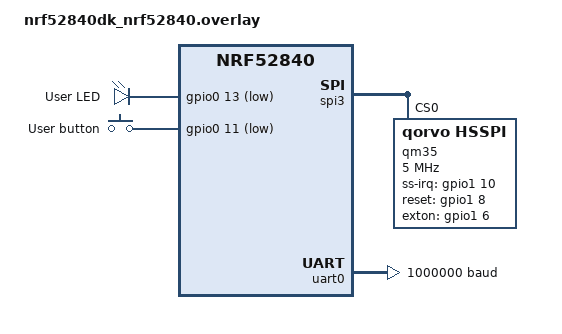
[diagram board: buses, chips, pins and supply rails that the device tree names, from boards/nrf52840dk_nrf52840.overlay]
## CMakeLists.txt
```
# SPDX-FileCopyrightText: Copyright (c) 2024 Qorvo, Inc.
# SPDX-License-Identifier: LicenseRef-QORVO-2

cmake_minimum_required(VERSION 3.13.1)

list(APPEND ZEPHYR_EXTRA_MODULES
	$ENV{ZEPHYR_BASE}/../../../../Samples/Cherry/uci
	$ENV{ZEPHYR_BASE}/../../../../Samples/Cherry/qosal
	$ENV{ZEPHYR_BASE}/../../../../Samples/Cherry/cherry
	$ENV{ZEPHYR_BASE}/../../../../Samples/Cherry/examples/utilities
	$ENV{ZEPHYR_BASE}/../../../../Samples/Cherry/examples/cherry
	$ENV{ZEPHYR_BASE}/../../../../Samples/Cherry/qm-utils
	$ENV{ZEPHYR_BASE}/../../../../Samples/Cherry/examples/uci_bridge
)

find_package(Zephyr REQUIRED HINTS $ENV{ZEPHYR_BASE})
zephyr_library_link_libraries(qosal)

project(app LANGUAGES C)

target_sources(app PRIVATE
	src/main.c
	src/main_qtrace.c
	src/qsoc_flash_bridge.c
	src/shell_utils.c
	src/uci_bridge.c
	src/user_button.c
)
```

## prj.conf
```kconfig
# SPDX-FileCopyrightText: Copyright (c) 2024 Qorvo, Inc.
# SPDX-License-Identifier: LicenseRef-QORVO-2
#
# This file contains selected Kconfig options for the application.



CONFIG_DEBUG_THREAD_INFO=y
# CONFIG_DEBUG_OPTIMIZATIONS=y

CONFIG_NRFX_SPIM3=y
CONFIG_HSSPI=y
CONFIG_LOG=y
CONFIG_APP_LOG_LEVEL_DBG=y
CONFIG_INIT_STACKS=y

CONFIG_MAIN_STACK_SIZE=2048
CONFIG_SYSTEM_WORKQUEUE_STACK_SIZE=2048

CONFIG_THREAD_CUSTOM_DATA=y
CONFIG_POLL=y

CONFIG_SYS_CLOCK_TICKS_PER_SEC=1000
CONFIG_HEAP_MEM_POOL_SIZE=16384
CONFIG_THREAD_NAME=y
CONFIG_THREAD_MAX_NAME_LEN=16
CONFIG_THREAD_STACK_INFO=y
CONFIG_THREAD_MONITOR=y
CONFIG_LOG_BUFFER_SIZE=4096
CONFIG_UCI_TRANSPORT_USE_QMUTILS=y
CONFIG_QOSAL_MAX_MUTEX=8
CONFIG_CHERRY_EXAMPLES_ZEPHYR=y
CONFIG_CHERRY_EXAMPLES_GETOPT_SUPPORT=y
CONFIG_PICOLIBC_IO_FLOAT=y
CONFIG_SHELL=y
CONFIG_SHELL_LOG_BACKEND=n
CONFIG_LOG_BACKEND_UART=y
CONFIG_SHELL_THREAD_PRIORITY_OVERRIDE=y
CONFIG_LOG_PROCESS_TRIGGER_THRESHOLD=1
CONFIG_PM_DEVICE=y
CONFIG_PM_DEVICE_RUNTIME=y
CONFIG_USE_SEGGER_RTT=y
CONFIG_LOG_BACKEND_RTT=n
CONFIG_UART_INTERRUPT_DRIVEN=y
CONFIG_UART_USE_RUNTIME_CONFIGURE=y
CONFIG_CHERRY_BRIDGE_ZEPHYR=y
```

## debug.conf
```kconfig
# SPDX-FileCopyrightText: Copyright (c) 2024 Qorvo, Inc.
# SPDX-License-Identifier: LicenseRef-QORVO-2
#
# This is a Kconfig fragment which can be used to enable debug-related options
# in the application. See the README for more details.

# compiler
CONFIG_DEBUG_OPTIMIZATIONS=y
CONFIG_DEBUG=y
CONFIG_DEBUG_INFO=y

# console
CONFIG_CONSOLE=y

# UART console
CONFIG_SERIAL=y
CONFIG_UART_CONSOLE=y

# logging
CONFIG_LOG=y
CONFIG_APP_LOG_LEVEL_DBG=y

CONFIG_USE_SEGGER_RTT=y
CONFIG_SEGGER_RTT_BUFFER_SIZE_UP=4096

CONFIG_INIT_STACKS=y
CONFIG_DEBUG_THREAD_INFO=y
```

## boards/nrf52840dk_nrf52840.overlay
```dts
 /**
 * SPDX-FileCopyrightText: Copyright (c) 2024 Qorvo, Inc.
 * SPDX-License-Identifier: LicenseRef-QORVO-2
 *
 */

&spi3 {
	/* spi3 (aka arduino_spi) is already enabled in board dts. So just add our
	 * device. */
	qm35: hsspi@0 {
		status = "okay";
		compatible = "qorvo,hsspi";
		reg = <0>;
		spi-max-frequency = <5000000>;
		ss-irq-gpios = <&gpio1 10 0>;
		reset-gpios = <&gpio1 8 0>;
		exton-gpios = <&gpio1 6 0>;
	};
};

&uart0 {
	current-speed = <1000000>;
	hw-flow-control;
};

&temp {
	status = "disabled";
};

&cryptocell {
	status = "disabled";
};

&spi1 {
	status = "disabled";
};

&i2c0 {
	status = "disabled";
};

&adc {
	status = "disabled";
};

&uart1 {
	status = "disabled";
};

&pwm0 {
	status = "disabled";
};

&ieee802154 {
	status = "disabled";
};

/*
user_button gpio: Button 1, P0.11.
user_led gpio: LED 1, P0.13.
*/
/ {
	aliases {
		user-button = &user_button;
		user-led = &user_led;
	};
	leds {
		compatible = "gpio-leds";
		user_led: user_led {
			gpios = <&gpio0 13 GPIO_ACTIVE_LOW>;
			label = "User LED";
		};
	};
	buttons {
		compatible = "gpio-keys";
		user_button: user_button {
			gpios = <&gpio0 11 (GPIO_PULL_UP | GPIO_ACTIVE_LOW)>;
			label = "User button";
		};
	};
};
```

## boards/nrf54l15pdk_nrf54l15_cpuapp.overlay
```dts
 /**
 * SPDX-FileCopyrightText: Copyright (c) 2025 Qorvo, Inc.
 * SPDX-License-Identifier: LicenseRef-QORVO-2
 *
 */

/{
/* The default uart console/shell is uart20, aka ttyACM1.
 * Set uart console/shell on ttyACM0 with selecting uart30. */
	chosen {
		zephyr,console = &uart30;
		zephyr,shell-uart = &uart30;
		zephyr,uart-mcumgr = &uart30;
	};
};

/*
spi21 pins assignement:
	spi21 Clock: P1.13, Button 0
	spi21 MOSI: P1.11
	spi21 MISO: P1.12
	spi21 CS: P2.08
QM35 pins assignement:
	QM35 IRQ: P0.04, Button 3
	QM35 Reset: P2.10
	QM35 EXTON: P1.08, Button 2
*/

&spi21 {
	status = "okay";
	pinctrl-0 = <&spi21_default>;
	pinctrl-1 = <&spi21_sleep>;
	pinctrl-names = "default", "sleep";
	cs-gpios = <&gpio2 8 GPIO_ACTIVE_LOW>;
	qm35: hsspi@0 {
		compatible = "qorvo,hsspi";
		reg = < 0x0 >;
		spi-max-frequency = <5000000>;
		status = "okay";
		ss-irq-gpios = <&gpio0 4 GPIO_ACTIVE_HIGH>;
		reset-gpios = <&gpio2 10 (GPIO_ACTIVE_HIGH|GPIO_OPEN_DRAIN)>;
		exton-gpios = <&gpio1 8 GPIO_ACTIVE_HIGH>;
	};
};

&pinctrl {
	spi21_default: spi21_default {
		group1 {
			psels = <NRF_PSEL(SPIM_SCK, 1, 13)>,
				<NRF_PSEL(SPIM_MOSI, 1, 11)>,
				<NRF_PSEL(SPIM_MISO, 1, 12)>;
			nordic,drive-mode = <NRF_DRIVE_H0H1>;
		};
	};

	spi21_sleep: spi21_sleep {
		group1 {
			psels = <NRF_PSEL(SPIM_SCK, 1, 13)>,
				<NRF_PSEL(SPIM_MOSI, 1, 11)>,
				<NRF_PSEL(SPIM_MISO, 1, 12)>;
			low-power-enable;
		};
	};
};

/* Enable uart30 for the console/shell. Configure it to 1Mbps. */
&uart30 {
	status = "okay";
	current-speed = <1000000>;
	hw-flow-control;
};

/* Disable uart20, used by the default for console/shell. */
&uart20 {
	status = "disabled";
};

/*
user_button gpio: Button 1, P1.09.
user_led gpio: LED 0, P2.09.
*/
/ {
	aliases {
		user-button = &user_button;
		user-led = &user_led;
	};
	leds {
		compatible = "gpio-leds";
		user_led: user_led {
			gpios = <&gpio2 9 GPIO_ACTIVE_HIGH>;
			label = "User LED";
		};
	};
	buttons {
		compatible = "gpio-keys";
		user_button: user_button {
			gpios = <&gpio1 9 (GPIO_PULL_UP | GPIO_ACTIVE_LOW)>;
			label = "User button";
		};
	};
};
```

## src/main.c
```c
/**
 * @file      main.c
 *
 * @brief     Example entrance. Prepare QM35 and run the example(s)
 *
 * @author    Qorvo Paris Applications
 *
 * @copyright SPDX-FileCopyrightText: Copyright (c) 2024 Qorvo, Inc.
 *            SPDX-License-Identifier: LicenseRef-QORVO-2
 *
 */

#include <app_version.h>
#include <zephyr/kernel.h>
#include <zephyr/logging/log.h>
#include <zephyr/shell/shell.h>
#include <twr_app.h>
#include <twr_app_params.h>
#include <device_app.h>
#include <device_app_params.h>
#include <dl_tdoa_app.h>
#include <dl_tdoa_app_params.h>

#include <radar_app.h>
#include <radar_app_params.h>
#include <multi_session_app.h>
#include <multi_session_app_params.h>
#include <get_calib_app.h>
#include <get_calib_app_params.h>
#include <uci_bridge_app.h>
#include <shell_utils.h>

#include "drivers/uwb/shell.h"
#include "shell_cmd_hyphen.h"

LOG_MODULE_REGISTER(main, CONFIG_APP_LOG_LEVEL);

int qsoc_flash_bridge_cmd(const struct shell *shell, size_t argc, char **argv);
int main_qtrace(int argc, char *argv[]);

#define QTRACE_USAGE_HELP                                                      \
	"\nUsage: qtrace [-s] [-e]\n"                                          \
	"\nOptions:\n"                                                         \
	"\t-s Start qtrace read and forward to the host PC (via JLink RTT).\n" \
	"\t-e End qtrace read and forward to the host PC.\n"

static int uwb_get_calib_cmd(const struct shell *shell, size_t argc,
			     char **argv)
{
	return main_get_calib_app(argc, argv);
}

static int uwb_multi_session_cmd(const struct shell *shell, size_t argc,
				 char **argv)
{
	return main_multi_session_app(argc, argv);
}

static int uwb_radar_cmd(const struct shell *shell, size_t argc, char **argv)
{
	return main_radar_app(argc, argv);
}

static int uwb_dl_tdoa_cmd(const struct shell *shell, size_t argc, char **argv)
{
	return main_dl_tdoa_app(argc, argv);
}

static int uwb_twr_cmd(const struct shell *shell, size_t argc, char **argv)
{
	return main_twr_app(argc, argv);
}

static int uwb_device_cmd(const struct shell *shell, size_t argc, char **argv)
{
	return main_device_app(argc, argv);
}

static int uwb_qtrace_cmd(const struct shell *shell, size_t argc, char **argv)
{
	return main_qtrace(argc, argv);
}

int main(void)
{
	SHELL_CMD_REGISTER(cherry_device_app, "cherry-device-app", NULL,
			   DEVICE_APP_USAGE_HELP, uwb_device_cmd);
	SHELL_CMD_REGISTER(cherry_twr_app, "cherry-twr-app", NULL,
			   TWR_APP_USAGE_HELP, uwb_twr_cmd);
	SHELL_CMD_REGISTER(cherry_dl_tdoa_app, "cherry-dl-tdoa-app", NULL,
			   DL_TDOA_APP_USAGE_HELP, uwb_dl_tdoa_cmd);
	SHELL_CMD_REGISTER(cherry_radar_app, "cherry-radar-app", NULL,
			   RADAR_APP_USAGE_HELP, uwb_radar_cmd);
	SHELL_CMD_REGISTER(cherry_multi_session_app, "cherry-multi-session-app",
			   NULL, MULTI_SESSION_APP_USAGE_HELP,
			   uwb_multi_session_cmd);
	SHELL_CMD_REGISTER(cherry_get_calib_app, "cherry-get-calib-app", NULL,
			   GET_CALIB_APP_USAGE_HELP, uwb_get_calib_cmd);
	SHELL_CMD_REGISTER(hsspi_tests, "hsspi-tests", NULL,
			   "Run some HSSPI driver tests", uwb_hsspi_tests_cmd);
	SHELL_CMD_REGISTER(qtrace, "qtrace", NULL, QTRACE_USAGE_HELP,
			   uwb_qtrace_cmd);
	SHELL_CMD_REGISTER(qsoc_flash_bridge, "qsoc-flash-bridge", NULL,
			   "QSoC-Flash bridge", qsoc_flash_bridge_cmd);
	SHELL_CMD_REGISTER(uci_bridge, "uci-bridge", NULL,
			   UCI_BRIDGE_APP_USAGE_HELP, uwb_uci_bridge_cmd);

	LOG_INF("Zephyr UWB Example Application %s",
		STRINGIFY(APP_BUILD_VERSION));

	user_button_init();
	while (1) {
		k_msleep(100);
	}
	return 0;
}
```

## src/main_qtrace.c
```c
/**
 * @file      main_qtrace.c
 *
 * @brief     Example for mcu host to read FW qtrace
 *
 * @author    Qorvo Paris Applications
 *
 * @copyright SPDX-FileCopyrightText: Copyright (c) 2025 Qorvo, Inc.
 *            SPDX-License-Identifier: LicenseRef-QORVO-2
 *
 */

#include <zephyr/kernel.h>
#include <zephyr/logging/log.h>
#include <unistd.h>
#include <getopt.h>
#include <string.h>
#include "qmutils/qmutils.h"
#include <qmalloc.h>

#include "SEGGER_RTT.h" /* To output qtrace on JLink RTT. */

/* RTT Channel used for sending QTRACE to Host. */
#define QTRACE_RTT_CHANNEL 1

LOG_MODULE_REGISTER(main_qtrace, CONFIG_APP_LOG_LEVEL);

/* qtrace command options. */
#define OPTSTR "se"

/* qtrace context definition. */
struct qtrace_context {
	/* Context handle. */
	qmhandle qtrace_hnd;

	/* SEGGER RTT params. */
	uint8_t *qtrace_buffer_up;
	uint8_t *qtrace_buffer_down;
};

/* static variables. */
static struct qtrace_context *qtrace_ctx = NULL;

/* static functions prototypes. */
static int qtrace_read_callback(void *cb_data, void *buf, size_t len);
static int rtt_channel_init(void);
static void free_context_memory(void);
static int qtrace_start(void);

static int qtrace_read_callback(void *cb_data, void *buf, size_t len)
{
	int ret = 0;

	/* Send qtrace on JLink RTT. */
	ret = SEGGER_RTT_Write(QTRACE_RTT_CHANNEL, buf, len);
	if (ret != len) {
		/* Buffer is full. */
		ret = -EIO;
	}

	return ret;
}

static int rtt_channel_init(void)
{
	int ret = 0;

	/* Context exists ? */
	if (!qtrace_ctx) {
		ret = -EINVAL;
		LOG_ERR("Missing context: %s", strerror(-ret));
		return ret;
	}
	/* Allocate RTT upload and download buffers. */
	qtrace_ctx->qtrace_buffer_up = qcalloc(BUFFER_SIZE_UP, sizeof(uint8_t));
	if (!qtrace_ctx->qtrace_buffer_up) {
		return -ENOMEM;
	}
	qtrace_ctx->qtrace_buffer_down =
	    qcalloc(BUFFER_SIZE_DOWN, sizeof(uint8_t));
	if (!qtrace_ctx->qtrace_buffer_down) {
		return -ENOMEM;
	}
	/* Initialize JLink RTT link. */
	SEGGER_RTT_Init();
	ret = SEGGER_RTT_ConfigUpBuffer(QTRACE_RTT_CHANNEL, "QTRACEOUT",
					qtrace_ctx->qtrace_buffer_up,
					BUFFER_SIZE_UP,
					SEGGER_RTT_MODE_BLOCK_IF_FIFO_FULL);
	if (ret < 0) {
		ret = -EIO;
		LOG_ERR("Failed to config RTT upload buffer: %s.",
			strerror(-ret));
		return ret;
	}
	ret = SEGGER_RTT_ConfigDownBuffer(QTRACE_RTT_CHANNEL, "QTRACEOUT",
					  qtrace_ctx->qtrace_buffer_down,
					  BUFFER_SIZE_DOWN,
					  SEGGER_RTT_MODE_BLOCK_IF_FIFO_FULL);
	if (ret < 0) {
		ret = -EIO;
		LOG_ERR("Failed to config RTT download buffer: %s.",
			strerror(-ret));
		return ret;
	}
	return 0;
}

static void free_context_memory(void)
{
	if (qtrace_ctx) {
		if (qtrace_ctx->qtrace_buffer_up) {
			qfree(qtrace_ctx->qtrace_buffer_up);
		}
		if (qtrace_ctx->qtrace_buffer_down) {
			qfree(qtrace_ctx->qtrace_buffer_down);
		}
		qfree(qtrace_ctx);
		qtrace_ctx = NULL;
	}
}

static int qtrace_start(void)
{
	int ret;

	/* Context already allocated ? */
	if (qtrace_ctx) {
		LOG_INF("QTRACE already started.");
		return -ENXIO;
	}
	/* Allocate new context. */
	qtrace_ctx = qcalloc(1, sizeof(struct qtrace_context));
	if (!qtrace_ctx) {
		return -ENOMEM;
	}
	/* Initialize qtrace channel. */
	qtrace_ctx->qtrace_hnd =
	    qmu_qtrace_init(&qtrace_read_callback, "qtrace");
	if (!qtrace_ctx->qtrace_hnd) {
		ret = -EIO;
		LOG_ERR("qmu_qtrace_init: %s.", strerror(-ret));
		goto err;
	}
	/* Init RTT channel connection with host. */
	ret = rtt_channel_init();
	if (ret < 0) {
		/* Close already opened qtrace channel. */
		if (qmu_qtrace_destroy(qtrace_ctx->qtrace_hnd) < 0) {
			LOG_ERR("qmu_qtrace_destroy error.");
		}
		LOG_ERR("Failed to initialize RTT channel: %s.",
			strerror(-ret));
		goto err;
	}
	return 0;
err:
	free_context_memory();
	return ret;
}

static int qtrace_stop(void)
{
	int ret = 0;

	/* Stop qtrace channel. */
	if (!qtrace_ctx) {
		LOG_INF("qtrace channel not initialized.");
		return -ENXIO;
	}
	if (qtrace_ctx->qtrace_hnd) {
		/* Close qtrace channel. */
		ret = qmu_qtrace_destroy(qtrace_ctx->qtrace_hnd);
		if (ret < 0) {
			LOG_ERR("qmu_qtrace_destroy: %s.", strerror(-ret));
			ret = -ENXIO;
		}
	}
	/* Free context in all cases */
	free_context_memory();

	return ret;
}

int main_qtrace(int argc, char *argv[])
{
	int ret = 0;
	int opt = 0;
	bool start_req = false;
	bool end_req = false;

	/* Needed for Zephyr. */
	getopt_init();

	/* Manage options. */
	while ((opt = getopt(argc, argv, OPTSTR)) != -1) {
		switch (opt) {
		case 's': /* Start qtrace. */
			start_req = true;
			break;
		case 'e': /* End qtrace. */
			end_req = true;
			break;
		default: {
			LOG_ERR("Invalid argument '-%c'\n", opt);
			ret = -EINVAL;
			goto exit;
		}
		}
	}
	/* Both options cannot be present at same time. */
	if (start_req && end_req) {
		/* Invalid call. */
		LOG_ERR(
		    "Both options '-s' and '-e' cannot be used at the same time.");
		ret = -EINVAL;
	} else {
		if (start_req)
			ret = qtrace_start();
		else if (end_req)
			ret = qtrace_stop();
	}

exit:
	return ret;
}
```

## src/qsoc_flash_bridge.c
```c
/**
 * @file      qsoc_flash_bridge.c
 *
 * @brief     Example for mcu host to act as a bridge between the QSoC-Flash
 *            tool and the QM35 boot ROM.
 *
 * @author    Qorvo Paris Applications
 *
 * @copyright SPDX-FileCopyrightText: Copyright (c) 2025 Qorvo, Inc.
 *            SPDX-License-Identifier: LicenseRef-QORVO-2
 *
 */

#include <zephyr/logging/log.h>
#include <zephyr/shell/shell.h>
#include <zephyr/shell/shell_uart.h>
#include <zephyr/drivers/uart.h>
#include <zephyr/pm/device_runtime.h>
#include <drivers/uwb/hsspi.h>

LOG_MODULE_REGISTER(qsoc_flash_bridge, CONFIG_APP_LOG_LEVEL);

#define FRAME_DELIMITER 0x7e
#define ESCAPE_CHARACTER 0x7d
#define ESCAPED_FRAME_DELIMITER 0x5e
#define ESCAPED_ESCAPE_CHARACTER 0x5d

#define CMD_NOP 0x01
#define CMD_EXIT_FLASH_MODE 0x02
#define CMD_TRANSFER 0x03
#define CMD_SET_CS 0x04
#define CMD_RESET 0x05
#define CMD_READ_IRQ 0x06

#define SERIAL_BUF_SIZE 4096

struct qsoc_flash_bridge_ctx {
	struct k_work bridge_init_work;
	struct k_work shell_init_work;
	struct k_work rx_process_work;
	const struct device *uart_dev;
	const struct device *hsspi_dev;
	const struct hsspi_driver_config *hsspi_config;
	const struct shell *shell;
	uint8_t *uart_rx_buf;
	uint8_t *uart_tx_buf;
	int uart_rx_buf_pos;
	int uart_rx_buf_len;
	int uart_tx_buf_pos;
	int uart_tx_buf_len;
	bool delimiter_received;
	int empty_cmd_count;
};

static void shell_init_from_work(struct k_work *shell_init_work)
{
	struct qsoc_flash_bridge_ctx *ctx = CONTAINER_OF(
	    shell_init_work, struct qsoc_flash_bridge_ctx, shell_init_work);
	bool log_backend = CONFIG_SHELL_BACKEND_SERIAL_LOG_LEVEL > 0;
	uint32_t level =
	    (CONFIG_SHELL_BACKEND_SERIAL_LOG_LEVEL > LOG_LEVEL_DBG) ?
		CONFIG_LOG_MAX_LEVEL :
		CONFIG_SHELL_BACKEND_SERIAL_LOG_LEVEL;
	int ret;

	/* Disable the QSOC-Flash bridge UART interrupts. */
	uart_irq_rx_disable(ctx->uart_dev);

	/* Suspend QM35 and re-enable interrupts. */
	ret = pm_device_runtime_put(ctx->hsspi_config->bus.bus);
	if (ret < 0)
		LOG_ERR("Failed to suspend QM35 device: %d", ret);
	ret = hsspi_enable_irq(ctx->hsspi_dev);
	if (ret < 0)
		LOG_ERR("Failed to enable QM35 interrupts: %d", ret);

	/* Restart the shell. */
	ret = shell_init(shell_backend_uart_get_ptr(), ctx->uart_dev,
			 shell_backend_uart_get_ptr()->ctx->cfg.flags,
			 log_backend, level);
	if (ret < 0)
		LOG_ERR("Failed to reinitialize shell: %d", ret);

	/* Clean up the QSoC-Flash bridge context. */
	k_free(ctx->uart_rx_buf);
	k_free(ctx->uart_tx_buf);
	k_free(ctx);
}

static void shell_reinit_trigger(struct qsoc_flash_bridge_ctx *ctx)
{
	int ret;

	ret = k_work_submit(&ctx->shell_init_work);
	if (ret < 0) {
		LOG_ERR("Failed to submit shell init work: %d", ret);
	}
}

/**
 * @brief Escape data for transmission over an UART.
 *
 * @param out_buf Pointer to the buffer to store the escaped data.
 * @param out_size Size of the output buffer.
 * @param out_offset Start position in the output buffer.
 * @param buf Pointer to the data to be escaped.
 * @param len Length of the data.
 *
 * @return Number of bytes written on success, negative error code on failure.
 */
static int uart_escape(uint8_t *out_buf, unsigned int out_size,
		       unsigned int out_offset, const uint8_t *buf,
		       unsigned int len)
{
	bool in_place = buf >= out_buf && buf < out_buf + out_size;
	unsigned int in_offset = buf - out_buf;
	int i, o;

	/*
	 * When escaping data in place, make sure that the output cursor does
	 * not catch up with the input cursor.
	 */
	for (i = 0, o = out_offset;
	     i < len && o < out_size && (!in_place || o <= i + in_offset);
	     i++, o++) {
		if (buf[i] == FRAME_DELIMITER) {
			out_buf[o++] = ESCAPE_CHARACTER;
			if (o >= out_size || (in_place && o > i + in_offset))
				return -ENOMEM;
			out_buf[o] = ESCAPED_FRAME_DELIMITER;
		} else if (buf[i] == ESCAPE_CHARACTER) {
			out_buf[o++] = ESCAPE_CHARACTER;
			if (o >= out_size || (in_place && o > i + in_offset))
				return -ENOMEM;
			out_buf[o] = ESCAPED_ESCAPE_CHARACTER;
		} else {
			out_buf[o] = buf[i];
		}
	}
	/*
	 * If the loop exits before reaching the end of the data, it means that
	 * the output buffer is too small.
	 */
	if (i < len)
		return -ENOMEM;

	return o - out_offset;
}

/**
 * @brief Unescape data received from an UART.
 *
 * @param buf Pointer to the data to be unescaped.
 * @param len Length of the data.
 *
 * @return Number of bytes written on success, negative error code on failure.
 */
static int uart_unescape(uint8_t *buf, unsigned int len)
{
	int i, j;

	for (i = 0, j = 0; i < len; i++, j++) {
		if (buf[i] == ESCAPE_CHARACTER) {
			i++;
			if (buf[i] == ESCAPED_FRAME_DELIMITER)
				buf[j] = FRAME_DELIMITER;
			else if (buf[i] == ESCAPED_ESCAPE_CHARACTER)
				buf[j] = ESCAPE_CHARACTER;
			else
				return -EPROTO;
		} else if (buf[i] == FRAME_DELIMITER) {
			return -EPROTO;
		} else {
			buf[j] = buf[i];
		}
	}

	return j;
}

static int uart_send_resp(struct qsoc_flash_bridge_ctx *ctx, const uint8_t cmd,
			  const uint8_t status, const uint8_t *payload,
			  const int payload_len)
{
	uint8_t header[4] = {cmd, (payload_len + 1) & 0xff,
			     (payload_len + 1) >> 8 & 0xff, status};
	int len = 0, ret;

	/* Start with a frame delimiter. */
	if (len >= SERIAL_BUF_SIZE) {
		LOG_ERR("Buffer overflow: %d", len);
		return -1;
	}
	ctx->uart_tx_buf[len++] = FRAME_DELIMITER;

	/* Add the frame header next. */
	ret = uart_escape(ctx->uart_tx_buf, SERIAL_BUF_SIZE, len, header,
			  sizeof(header));
	if (ret < 0) {
		LOG_ERR("Failed to escape header: %d", ret);
		return ret;
	}
	len += ret;

	/* Add the payload, if any. */
	if (payload && payload_len) {
		ret = uart_escape(ctx->uart_tx_buf, SERIAL_BUF_SIZE, len,
				  payload, payload_len);
		if (ret < 0) {
			LOG_ERR("Failed to escape payload: %d", ret);
			return ret;
		}
		len += ret;
	}

	/* End with a frame delimiter. */
	if (len >= SERIAL_BUF_SIZE) {
		LOG_ERR("Buffer overflow: %d", len);
		return -1;
	}
	ctx->uart_tx_buf[len++] = FRAME_DELIMITER;

	/* Send the response buffer. */
	ctx->uart_tx_buf_pos = 0;
	ctx->uart_tx_buf_len = len;
	uart_irq_tx_enable(ctx->uart_dev);

	return 0;
}

static void
qsoc_flash_bridge_rx_process_from_work(struct k_work *rx_process_work)
{
	struct qsoc_flash_bridge_ctx *ctx = CONTAINER_OF(
	    rx_process_work, struct qsoc_flash_bridge_ctx, rx_process_work);
	uint8_t cmd, status, response;
	uint16_t cmd_len;
	int ret;

	/* Unescape the received frame. */
	ret = uart_unescape(ctx->uart_rx_buf, ctx->uart_rx_buf_len);
	if (ret < 0) {
		LOG_ERR("Error unescaping frame: %d", ret);
		return;
	}
	cmd = ctx->uart_rx_buf[0];
	cmd_len = ctx->uart_rx_buf[1] | ctx->uart_rx_buf[2] << 8;

	/* Process the received frame and send the response. */
	switch (cmd) {
	case CMD_NOP:
		ret = uart_send_resp(ctx, cmd, 0, NULL, 0);
		if (ret < 0) {
			LOG_ERR("Error sending response: %d", ret);
			return;
		}
		break;
	case CMD_EXIT_FLASH_MODE:
		ret = uart_send_resp(ctx, cmd, 0, NULL, 0);
		if (ret < 0) {
			LOG_ERR("Error sending response: %d", ret);
		}

		shell_reinit_trigger(ctx);
		break;
	case CMD_TRANSFER: {
		const struct spi_buf tx = {.buf = ctx->uart_rx_buf + 3,
					   .len = cmd_len};
		const struct spi_buf_set tx_set = {.buffers = &tx, .count = 1};

		/*
		 * Put the data read from the QM35 device at the end of the
		 * uart_tx_buf.
		 * It will then be copied at the beginning of the buffer by the
		 * uart_escape() function before being sent over the UART.
		 */
		uint8_t *spi_rx_buf =
		    ctx->uart_tx_buf + SERIAL_BUF_SIZE - cmd_len;

		const struct spi_buf rx = {.buf = spi_rx_buf, .len = cmd_len};
		const struct spi_buf_set rx_set = {.buffers = &rx, .count = 1};

		ret = spi_transceive_dt(&ctx->hsspi_config->bus, &tx_set,
					&rx_set);
		status = ret < 0 ? ret : 0;

		ret = uart_send_resp(ctx, cmd, status, spi_rx_buf, cmd_len);
		if (ret < 0) {
			LOG_ERR("Error sending response: %d", ret);
			return;
		}
		break;
	}
	case CMD_SET_CS:
		hsspi_cs_gpio_set(ctx->hsspi_dev, ctx->uart_rx_buf[3] ? 0 : 1);

		ret = uart_send_resp(ctx, cmd, 0, NULL, 0);
		if (ret < 0) {
			LOG_ERR("Error sending response: %d", ret);
			return;
		}
		break;
	case CMD_RESET:
		hsspi_reset_gpio_set(ctx->hsspi_dev, 0);
		k_msleep(2);
		hsspi_reset_gpio_set(ctx->hsspi_dev, 1);

		ret = uart_send_resp(ctx, cmd, 0, NULL, 0);
		if (ret < 0) {
			LOG_ERR("Error sending response: %d", ret);
			return;
		}
		break;
	case CMD_READ_IRQ:
		ret = gpio_pin_get_dt(&ctx->hsspi_config->ss_irq);

		status = ret < 0 ? ret : 0;
		response = ret ? 1 : 0;
		ret = uart_send_resp(ctx, cmd, status, &response, 1);
		if (ret < 0) {
			LOG_ERR("Error sending response: %d", ret);
			return;
		}
		break;
	default:
		/* Bad frame received, prevent further processing. */
		LOG_ERR("Unknown command: %d", cmd);
		ctx->delimiter_received = false;
	}
}

static void qsoc_flash_bridge_uart_callback(const struct device *dev,
					    void *user_data)
{
	struct qsoc_flash_bridge_ctx *ctx = user_data;
	uint8_t recv[32];
	int i, recv_len;

	if (!uart_irq_update(dev)) {
		LOG_ERR("UART IRQ update failed");
		return;
	}

	if (uart_irq_rx_ready(dev) == 1) {
		recv_len = uart_fifo_read(dev, recv, sizeof(recv));
		for (i = 0; i < recv_len; i++) {
			if (recv[i] == FRAME_DELIMITER) {
				if (!ctx->uart_rx_buf_pos) {
					/* Start of frame. */
					ctx->delimiter_received = true;
					if (++ctx->empty_cmd_count >= 5) {
						/* Received 5 empty commands, exit. */
						shell_reinit_trigger(ctx);
						return;
					}
					continue;
				}

				/* End of frame, process the received data. */
				ctx->uart_rx_buf_len = ctx->uart_rx_buf_pos;
				k_work_submit(&ctx->rx_process_work);
				/* Reset position for next frame. */
				ctx->uart_rx_buf_pos = 0;
				ctx->empty_cmd_count = 0;
				continue;
			}

			if (ctx->delimiter_received) {
				if (ctx->uart_rx_buf_pos >= SERIAL_BUF_SIZE) {
					LOG_ERR("Buffer overflow: %d",
						ctx->uart_rx_buf_pos);
					return;
				}
				ctx->uart_rx_buf[ctx->uart_rx_buf_pos++] =
				    recv[i];
			}
		}
	}

	if (uart_irq_tx_ready(dev) == 1) {
		/* Transmission is ready, send the next bytes if available. */
		if (ctx->uart_tx_buf_pos < ctx->uart_tx_buf_len) {
			int ret = uart_fifo_fill(
			    dev, &ctx->uart_tx_buf[ctx->uart_tx_buf_pos],
			    ctx->uart_tx_buf_len - ctx->uart_tx_buf_pos);
			if (ret < 0) {
				LOG_ERR("Error sending data: %d", ret);
				return;
			}
			ctx->uart_tx_buf_pos += ret;
		} else {
			uart_irq_tx_disable(dev);
		}
	}
}

static void qsoc_flash_bridge_init_from_work(struct k_work *bridge_init_work)
{
	struct qsoc_flash_bridge_ctx *ctx = CONTAINER_OF(
	    bridge_init_work, struct qsoc_flash_bridge_ctx, bridge_init_work);
	int ret;

	/* Wait for the shell to be stopped. */
	while (shell_ready(ctx->shell))
		k_msleep(1);

	LOG_INF("The shell is stopped and the QSoC-Flash bridge is started "
		"on the UART.");
	LOG_INF("The shell will be restarted when CMD_EXIT_FLASH_MODE or "
		"'~~~~~' (5 tildes) are received.");

	/* Disable QM35 interrupts and resume the device. */
	ret = hsspi_disable_irq(ctx->hsspi_dev);
	if (ret < 0)
		LOG_ERR("Failed to disable QM35 interrupts: %d", ret);
	ret = pm_device_runtime_get(ctx->hsspi_config->bus.bus);
	if (ret < 0)
		LOG_ERR("Failed to resume QM35 device: %d", ret);

	/* Initialize the UART device. */
	ret = uart_irq_callback_user_data_set(
	    ctx->uart_dev, qsoc_flash_bridge_uart_callback, ctx);
	if (ret < 0)
		LOG_ERR("Failed to set UART callback: %d", ret);
	uart_irq_rx_enable(ctx->uart_dev);
}

static void shell_uninit_cb(const struct shell *sh, int res)
{
}

int qsoc_flash_bridge_cmd(const struct shell *shell, size_t argc, char **argv)
{
	struct qsoc_flash_bridge_ctx *ctx;
	int ret;

	/* Set up the QSoC-Flash bridge context. */
	ctx = k_calloc(1, sizeof(struct qsoc_flash_bridge_ctx));
	if (!ctx) {
		LOG_ERR("Failed to allocate memory for context");
		return -ENOMEM;
	}

	ctx->uart_rx_buf = k_malloc(SERIAL_BUF_SIZE);
	ctx->uart_tx_buf = k_malloc(SERIAL_BUF_SIZE);
	if (!ctx->uart_rx_buf || !ctx->uart_tx_buf) {
		LOG_ERR("Failed to allocate memory for buffers");
		ret = -ENOMEM;
		goto error;
	}

	k_work_init(&ctx->bridge_init_work, qsoc_flash_bridge_init_from_work);
	k_work_init(&ctx->shell_init_work, shell_init_from_work);
	k_work_init(&ctx->rx_process_work,
		    qsoc_flash_bridge_rx_process_from_work);
	ctx->uart_dev = DEVICE_DT_GET(DT_CHOSEN(zephyr_shell_uart));
	ctx->hsspi_dev = DEVICE_DT_GET(DT_NODELABEL(qm35));
	ctx->hsspi_config = ctx->hsspi_dev->config;
	ctx->shell = shell;

	/* Set the prompt to the empty string to avoid the last shell prompt. */
	shell_prompt_change(shell, "");
	/* Stop the shell. */
	shell_uninit(shell, shell_uninit_cb);
	/* Start the QSoC-Flash bridge. */
	k_work_submit(&ctx->bridge_init_work);

	return 0;

error:
	k_free(ctx->uart_rx_buf);
	k_free(ctx->uart_tx_buf);
	k_free(ctx);
	return ret;
}
```

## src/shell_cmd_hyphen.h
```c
/**
 * @file      shell_cmd_hyphen.h
 *
 * @brief     Allow Zephyr shell command name with hyphen.
 *
 * @author    Qorvo Paris
 *
 * @copyright SPDX-FileCopyrightText: Copyright (c) 2024 Qorvo, Inc.
 *            SPDX-License-Identifier: LicenseRef-QORVO-2
 *
 */
#ifndef ZEPHYR_APP_SRC_SHELL_CMD_HYPHEN_H_
#define ZEPHYR_APP_SRC_SHELL_CMD_HYPHEN_H_

#include <zephyr/shell/shell.h>

#undef SHELL_EXPR_CMD_ARG
#undef SHELL_CMD_ARG
#undef SHELL_CMD_REGISTER
#undef SHELL_CMD_ARG_REGISTER

#define SHELL_EXPR_CMD_ARG(_expr, _syntax, _syntax1, _subcmd, _help, _handler, \
			   _mand, _opt)                                        \
	{                                                                      \
		.syntax = (_expr) ? (const char *)_syntax1 : "",               \
		.help = (_expr) ? (const char *)_help : NULL,                  \
		.subcmd =                                                      \
		    (const union shell_cmd_entry *)((_expr) ? _subcmd : NULL), \
		.handler = (shell_cmd_handler)((_expr) ? _handler : NULL),     \
		.args = {                                                      \
			.mandatory = _mand,                                    \
			.optional = _opt                                       \
		}                                                              \
	}

#define SHELL_CMD_ARG(syntax, syntax1, subcmd, help, handler, mand, opt) \
	SHELL_EXPR_CMD_ARG(1, syntax, syntax1, subcmd, help, handler, mand, opt)

#define SHELL_CMD_ARG_REGISTER(syntax, syntax1, subcmd, help, handler,       \
			       mandatory, optional)                          \
	static const struct shell_static_entry UTIL_CAT(_shell_, syntax) =   \
	    SHELL_CMD_ARG(syntax, syntax1, subcmd, help, handler, mandatory, \
			  optional);                                         \
	static const TYPE_SECTION_ITERABLE(union shell_cmd_entry,            \
					   UTIL_CAT(shell_cmd_, syntax),     \
					   shell_root_cmds,                  \
					   UTIL_CAT(shell_cmd_, syntax)) = { \
	    .entry = &UTIL_CAT(_shell_, syntax)}
#define SHELL_CMD_REGISTER(syntax, syntax1, subcmd, help, handler) \
	SHELL_CMD_ARG_REGISTER(syntax, syntax1, subcmd, help, handler, 0, 0)

#endif /* ZEPHYR_APP_SRC_SHELL_CMD_HYPHEN_H_ */
```

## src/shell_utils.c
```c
/**
 * @file      shell-utils.c
 *
 * @brief     Shell UART utilities
 *
 * @author    Qorvo Paris Applications
 *
 * @copyright SPDX-FileCopyrightText: Copyright (c) 2025 Qorvo, Inc.
 *            SPDX-License-Identifier: LicenseRef-QORVO-2
 *
 */

#include <zephyr/shell/shell.h>
#include <zephyr/shell/shell_uart.h>
#include <zephyr/drivers/uart.h>

LOG_MODULE_REGISTER(uart_utils, CONFIG_APP_LOG_LEVEL);

void shell_init_from_work(struct k_work *work)
{
	const struct device *const dev =
	    DEVICE_DT_GET(DT_CHOSEN(zephyr_shell_uart));
	bool log_backend = CONFIG_SHELL_BACKEND_SERIAL_LOG_LEVEL > 0;
	uint32_t level =
	    (CONFIG_SHELL_BACKEND_SERIAL_LOG_LEVEL > LOG_LEVEL_DBG) ?
		CONFIG_LOG_MAX_LEVEL :
		CONFIG_SHELL_BACKEND_SERIAL_LOG_LEVEL;

	int ret = shell_init(shell_backend_uart_get_ptr(), dev,
			     shell_backend_uart_get_ptr()->ctx->cfg.flags,
			     log_backend, level);
	if (ret != 0) {
		LOG_ERR("Failed to re-init shell %d", ret);
	}
}

static int shell_reinit_trigger(void)
{
	static struct k_work shell_init_work;

	k_work_init(&shell_init_work, shell_init_from_work);
	return k_work_submit(&shell_init_work);
}

static void shell_uninit_cb(const struct shell *sh, int res)
{
}

void shell_stop_and_uart_acquire(const struct shell *sh)
{
	/* If this function is called from an uart shell command and if
	 * uart_irq_callback_user_data_set() is called in this function, the kill
	 * signal handler (kill_handler() from zephyr/subsys/shell/shell.c) raised
	 * by shell_uninit() is never called. The consequence is that
	 * the shell_uninit_cb callback is never called and  the shell thread is
	 * never set to NULL, which prevents the shell from restarting.
	 * So, uart_irq_callback_user_data_set() should be called in
	 * shell_uninit_cb() or after shell_uninit_cb() has been called.
	 * Note: the kill signal handler is only called after the return of shell
	 * command function.
	 */
	/* Set the prompt to empty string to avoid the last shell prompt. */
	shell_prompt_change(sh, "");
	shell_uninit(sh, shell_uninit_cb);
}

void shell_start_and_uart_release()
{
	shell_reinit_trigger();
}

int shell_uart_configure(uint32_t baudrate, bool use_rts_cts)
{
	const struct device *uart = DEVICE_DT_GET(DT_CHOSEN(zephyr_shell_uart));
	struct uart_config uart_cfg = {
	    .parity = UART_CFG_PARITY_NONE,
	    .stop_bits = UART_CFG_STOP_BITS_1,
	    .flow_ctrl = UART_CFG_FLOW_CTRL_NONE,
	    .data_bits = UART_CFG_DATA_BITS_8,
	};
	uart_cfg.baudrate = baudrate;
	if (use_rts_cts) {
		uart_cfg.flow_ctrl = UART_CFG_FLOW_CTRL_RTS_CTS;
	}
	return uart_configure(uart, &uart_cfg);
}
```

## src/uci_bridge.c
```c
/**
 * @file      uci_bridge.c
 *
 * @brief     UCI bridge command implementation.
 *
 * @author    Qorvo Paris Applications
 *
 * @copyright SPDX-FileCopyrightText: Copyright (c) 2025 Qorvo, Inc.
 *            SPDX-License-Identifier: LicenseRef-QORVO-2
 *
 */

#include <stdlib.h>
#include <uci_bridge_app.h>
#include <shell_utils.h>

LOG_MODULE_REGISTER(uci_bridge, CONFIG_APP_LOG_LEVEL);

struct start_uwb_uci_bridge_data {
	struct k_work work_uwb_uci_bridge;
	size_t argc;
	char **argv;
	const struct shell *shell;
};

static char **copy_argv(int argc, char *argv[])
{
	/* Calculate the contiguous argv buffer size. */
	int length = 0, i;
	size_t total_argc = argc + 1;

	for (i = 0; i < argc; i++) {
		length += (strlen(argv[i]) + 1);
	}
	char **new_argv =
	    (char **)malloc((total_argc * sizeof(char *)) + length);
	if (!new_argv) {
		return NULL;
	}
	/* Copy argv into the contiguous buffer. */
	length = 0;
	for (i = 0; i < argc; i++) {
		new_argv[i] = &(
		    ((char *)new_argv)[(total_argc * sizeof(char *)) + length]);
		strcpy(new_argv[i], argv[i]);
		length += (strlen(argv[i]) + 1);
	}
	/* Insert NULL terminating pointer at the end of the pointer array. */
	new_argv[total_argc - 1] = NULL;
	return (new_argv);
}

static void start_uwb_uci_bridge(struct k_work *work)
{
	struct start_uwb_uci_bridge_data *start_data = CONTAINER_OF(
	    work, struct start_uwb_uci_bridge_data, work_uwb_uci_bridge);

	/* Wait the end of the shell. The system work queue thread has higher
	 * priority than the shell thread. So main_uci_bridge_app() may be called
	 * before the shell uninit function that disables uart irq. A workaround is
	 * waiting the end of the shell. */
	while (shell_ready(start_data->shell)) {
		k_msleep(1);
	}
	LOG_INF("The shell is stopped and the uci bridge is started on the "
		"zephyr_shell_uart. You can close your serial terminal and use "
		"the Cherry utilities on the same serial device.");
	/* Wait the log flush. */
	k_msleep(10);
	/* Start the uci bridge. */
	main_uci_bridge_app(start_data->argc, start_data->argv);
	free(start_data->argv);
	free(start_data);
}

int uwb_uci_bridge_cmd(const struct shell *shell, size_t argc, char **argv)
{
	struct start_uwb_uci_bridge_data *start_data = NULL;

	start_data = calloc(1, sizeof(*start_data));
	if (!start_data) {
		return -ENOMEM;
	}
	/* The initialization of the uci bridge must be called outside the shell
	 * thread and when the shell thread is stopped due to a call to
	 * uart_irq_callback_user_data_set(). A k_work is used. */
	k_work_init(&start_data->work_uwb_uci_bridge, start_uwb_uci_bridge);
	start_data->argc = argc;
	/* argv must be copied because the original one is on the shell thread stack.
	 * And this stack will be squashed when main_uci_bridge_app is called. */
	start_data->argv = copy_argv(argc, argv);
	if (!start_data->argv) {
		return -ENOMEM;
	}
	start_data->shell = shell;
	/* Stop the shell. */
	shell_stop_and_uart_acquire(shell);
	/* Start the uci bridge. */
	k_work_submit(&start_data->work_uwb_uci_bridge);
	return 0;
}
```

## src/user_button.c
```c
/**
 * @file      user_button.c
 *
 * @brief     Manage application launch via the user button.
 *
 * @author    Qorvo Paris Applications
 *
 * @copyright SPDX-FileCopyrightText: Copyright (c) 2025 Qorvo, Inc.
 *            SPDX-License-Identifier: LicenseRef-QORVO-2
 *
 */

#include <zephyr/kernel.h>
#include <zephyr/logging/log.h>
#include <zephyr/drivers/gpio.h>
#include <zephyr/shell/shell_uart.h>
#include <twr_app.h>

#define USER_BUTTON_DELAY_MS (1000)
#define DEBOUNCE_INTERVAL_MS (150)
#define UCI_BRIDGE_CMD "uci-bridge"
#define TWR_CMD "cherry-twr-app -C -n 0"

LOG_MODULE_REGISTER(button, CONFIG_APP_LOG_LEVEL);

struct user_button_data {
	struct gpio_callback cb_data;
	struct k_timer timer;
	struct k_work work;
	struct k_thread app_start_thread;
	int64_t last_push_time_ms;
	int push_count;
};

static struct user_button_data g_user_button_data;
static const struct gpio_dt_spec user_led =
    GPIO_DT_SPEC_GET(DT_ALIAS(user_led), gpios);
static const struct gpio_dt_spec user_button =
    GPIO_DT_SPEC_GET(DT_ALIAS(user_button), gpios);

static K_THREAD_STACK_DEFINE(app_start_stack, 1024);

static void user_button_pushed(const struct device *dev,
			       struct gpio_callback *cb, uint32_t pins)
{
	int64_t push_time_ms = k_uptime_get();

	/* Debouncing the button. */
	if (g_user_button_data.push_count &&
	    ((push_time_ms - g_user_button_data.last_push_time_ms) <
	     DEBOUNCE_INTERVAL_MS)) {
		return;
	}
	if (g_user_button_data.push_count == 0) {
		/* Start the timer at the first push. */
		k_timer_start(&g_user_button_data.timer,
			      K_MSEC(USER_BUTTON_DELAY_MS), K_NO_WAIT);
	}
	g_user_button_data.push_count++;
	g_user_button_data.last_push_time_ms = push_time_ms;
}

static void led_blink(int count)
{
	int i;

	for (i = 0; i < count; i++) {
		gpio_pin_set_dt(&user_led, 1);
		k_msleep(100);
		gpio_pin_set_dt(&user_led, 0);
		k_msleep(100);
	}
}
static void start_app_thread(void *arg0, void *arg1, void *arg2)
{
	shell_execute_cmd(shell_backend_uart_get_ptr(), arg0);
}

static void start_app(char *cmd)
{
	/* Since the shell command may use the sysworkq, the command is launched
	 * in a new thread to avoid a dead lock in the sysworkq. */
	k_thread_create(&g_user_button_data.app_start_thread, app_start_stack,
			K_THREAD_STACK_SIZEOF(app_start_stack),
			start_app_thread, cmd, NULL, NULL, 0, 0, K_NO_WAIT);
}

static void user_button_timer_work(struct k_work *work)
{
	switch (g_user_button_data.push_count) {
	case 1:
		LOG_INF("Launch uci bridge.");
		led_blink(g_user_button_data.push_count);
		start_app(UCI_BRIDGE_CMD);
		break;
	case 2:
		LOG_INF("Launch twr app.");
		led_blink(g_user_button_data.push_count);
		start_app(TWR_CMD);
		break;
	default:
		LOG_WRN("Bad button push count: %d, no action done.",
			g_user_button_data.push_count);
		/* Re-init the button app trigger. */
		g_user_button_data.push_count = 0;
		g_user_button_data.last_push_time_ms = 0;
		gpio_pin_interrupt_configure_dt(&user_button,
						GPIO_INT_EDGE_TO_ACTIVE);
		break;
	}
}

static void user_button_timer_expire(struct k_timer *timer)
{
	gpio_pin_interrupt_configure_dt(&user_button, GPIO_INT_DISABLE);
	k_work_submit(&g_user_button_data.work);
}

int user_button_init(void)
{
	int ret;

	k_timer_init(&g_user_button_data.timer, user_button_timer_expire, NULL);
	k_work_init(&g_user_button_data.work, user_button_timer_work);

	if (!gpio_is_ready_dt(&user_led)) {
		LOG_ERR("The user led gpio is not ready");
		return -EIO;
	}
	ret = gpio_pin_configure_dt(&user_led, GPIO_OUTPUT_INACTIVE);
	if (ret != 0) {
		LOG_ERR("Error in the user led gpio configuration, %d", ret);
		return ret;
	}
	if (!gpio_is_ready_dt(&user_button)) {
		LOG_ERR("The user button gpio is not ready");
		return -EIO;
	}
	ret = gpio_pin_configure_dt(&user_button, GPIO_INPUT | GPIO_PULL_UP);
	if (ret != 0) {
		LOG_ERR("Error in the user button gpio configuration, %d", ret);
		return ret;
	}
	ret = gpio_pin_interrupt_configure_dt(&user_button,
					      GPIO_INT_EDGE_TO_ACTIVE);
	if (ret != 0) {
		LOG_ERR(
		    "Error %d: failed to configure interrupt on %s pin %d\n",
		    ret, user_button.port->name, user_button.pin);
		return ret;
	}
	gpio_init_callback(&g_user_button_data.cb_data, user_button_pushed,
			   BIT(user_button.pin));
	gpio_add_callback(user_button.port, &g_user_button_data.cb_data);
	return 0;
}
```
